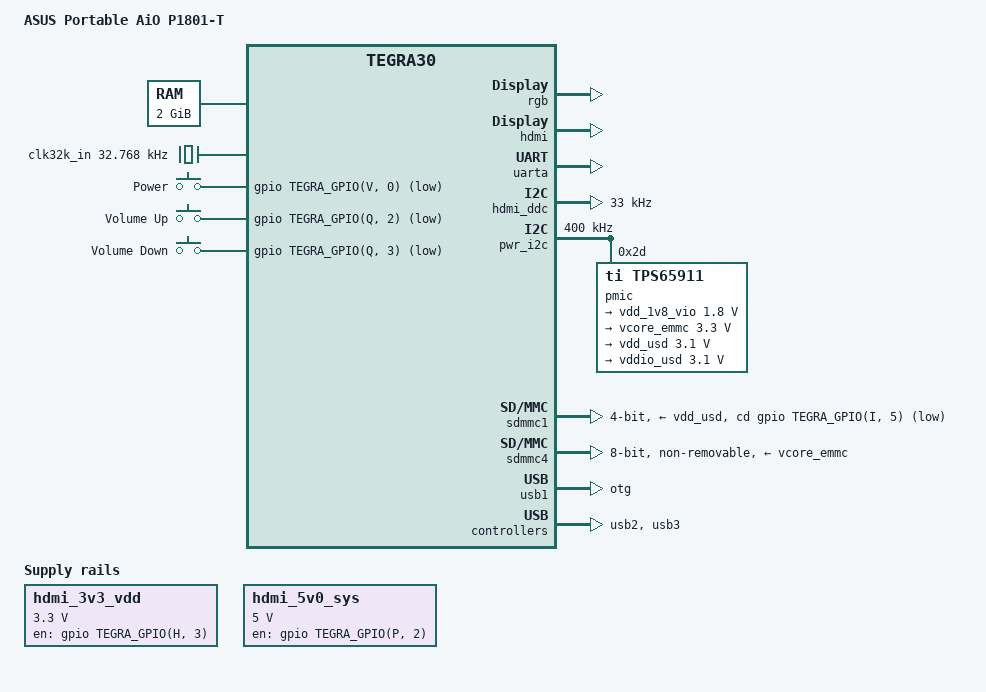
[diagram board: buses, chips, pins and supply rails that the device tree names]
// SPDX-License-Identifier: GPL-2.0
/dts-v1/;

#include <dt-bindings/input/input.h>
#include "tegra30.dtsi"

/ {
	model = "ASUS Portable AiO P1801-T";
	compatible = "asus,p1801-t", "nvidia,tegra30";

	chosen {
		stdout-path = &uarta;
	};

	aliases {
		i2c0 = &pwr_i2c;
		i2c1 = &hdmi_ddc;

		mmc0 = &sdmmc4;	/* eMMC */
		mmc1 = &sdmmc1; /* uSD slot */

		rtc0 = &pmic;
		rtc1 = "/rtc@7000e000";

		usb0 = &usb1;
		usb1 = &usb2; /* Mini USB */
		usb2 = &usb3; /* Dock USB */
	};

	memory {
		device_type = "memory";
		reg = <0x80000000 0x80000000>;
	};

	host1x@50000000 {
		dc@54200000 {
			clocks = <&tegra_car TEGRA30_CLK_DISP1>,
				 <&tegra_car TEGRA30_CLK_PLL_D_OUT0>;

			rgb {
				status = "okay";

				nvidia,panel = <&hdmi>;
			};
		};

		hdmi: hdmi@54280000 {
			clocks = <&tegra_car TEGRA30_CLK_HDMI>,
				 <&tegra_car TEGRA30_CLK_PLL_D_OUT0>;

			status = "okay";

			hdmi-supply = <&hdmi_5v0_sys>;
			pll-supply = <&vdd_1v8_vio>;
			vdd-supply = <&hdmi_3v3_vdd>;

			/* low: tablet, high: dock */
			nvidia,hpd-gpio = <&gpio TEGRA_GPIO(H, 4) GPIO_ACTIVE_LOW>;
			nvidia,ddc-i2c-bus = <&hdmi_ddc>;
		};
	};

	uarta: serial@70006000 {
		status = "okay";
	};

	hdmi_ddc: i2c@7000c700 {
		status = "okay";
		clock-frequency = <33000>;
	};

	pwr_i2c: i2c@7000d000 {
		status = "okay";
		clock-frequency = <400000>;

		/* Texas Instruments TPS659110 PMIC */
		pmic: tps65911@2d {
			compatible = "ti,tps65911";
			reg = <0x2d>;

			interrupts = <GIC_SPI 86 IRQ_TYPE_LEVEL_HIGH>;
			#interrupt-cells = <2>;
			interrupt-controller;

			ti,system-power-controller;

			#gpio-cells = <2>;
			gpio-controller;

			regulators {
				vdd_1v8_vio: vddio {
					regulator-name = "vdd_1v8_gen";
					regulator-min-microvolt = <1800000>;
					regulator-max-microvolt = <1800000>;
					regulator-always-on;
					regulator-boot-on;
				};

				/* eMMC VDD */
				vcore_emmc: ldo1 {
					regulator-name = "vdd_emmc_core";
					regulator-min-microvolt = <3300000>;
					regulator-max-microvolt = <3300000>;
				};

				/* uSD slot VDD */
				vdd_usd: ldo2 {
					regulator-name = "vdd_usd";
					regulator-min-microvolt = <3100000>;
					regulator-max-microvolt = <3100000>;
				};

				/* uSD slot VDDIO */
				vddio_usd: ldo3 {
					regulator-name = "vddio_usd";
					regulator-min-microvolt = <3100000>;
					regulator-max-microvolt = <3100000>;
					regulator-always-on;
					regulator-boot-on;
				};
			};
		};
	};

	sdmmc1: sdhci@78000000 {
		status = "okay";
		bus-width = <4>;

		cd-gpios = <&gpio TEGRA_GPIO(I, 5) GPIO_ACTIVE_LOW>;
		power-gpios = <&gpio TEGRA_GPIO(D, 7) GPIO_ACTIVE_HIGH>;

		vmmc-supply = <&vdd_usd>;
		vqmmc-supply = <&vddio_usd>;
	};

	sdmmc4: sdhci@78000600 {
		status = "okay";
		bus-width = <8>;
		non-removable;

		vmmc-supply = <&vcore_emmc>;
		vqmmc-supply = <&vdd_1v8_vio>;
	};

	/* USB via ASUS connector */
	usb1: usb@7d000000 {
		status = "okay";
		dr_mode = "otg";
	};

	/* Mini USB port */
	usb2: usb@7d004000 {
		status = "okay";
		nvidia,vbus-gpio = <&gpio TEGRA_GPIO(H, 7) GPIO_ACTIVE_HIGH>;
	};

	/* Dock's USB port */
	usb3: usb@7d008000 {
		status = "okay";
	};

	/* PMIC has a built-in 32KHz oscillator which is used by PMC */
	clk32k_in: clock-32k {
		compatible = "fixed-clock";
		#clock-cells = <0>;
		clock-frequency = <32768>;
		clock-output-names = "pmic-oscillator";
	};

	gpio-keys {
		compatible = "gpio-keys";

		key-power {
			label = "Power";
			gpios = <&gpio TEGRA_GPIO(V, 0) GPIO_ACTIVE_LOW>;
			linux,code = <KEY_ENTER>;
		};

		key-volume-up {
			label = "Volume Up";
			gpios = <&gpio TEGRA_GPIO(Q, 2) GPIO_ACTIVE_LOW>;
			linux,code = <KEY_UP>;
		};

		key-volume-down {
			label = "Volume Down";
			gpios = <&gpio TEGRA_GPIO(Q, 3) GPIO_ACTIVE_LOW>;
			linux,code = <KEY_DOWN>;
		};
	};

	hdmi_3v3_vdd: regulator-vdd {
		compatible = "regulator-fixed";
		regulator-name = "hdmi_3v3_vdd";
		regulator-min-microvolt = <3300000>;
		regulator-max-microvolt = <3300000>;
		gpio = <&gpio TEGRA_GPIO(H, 3) GPIO_ACTIVE_HIGH>;
		enable-active-high;
	};

	hdmi_5v0_sys: regulator-hdmi {
		compatible = "regulator-fixed";
		regulator-name = "hdmi_5v0_sys";
		regulator-min-microvolt = <5000000>;
		regulator-max-microvolt = <5000000>;
		gpio = <&gpio TEGRA_GPIO(P, 2) GPIO_ACTIVE_HIGH>;
		enable-active-high;
	};
};
